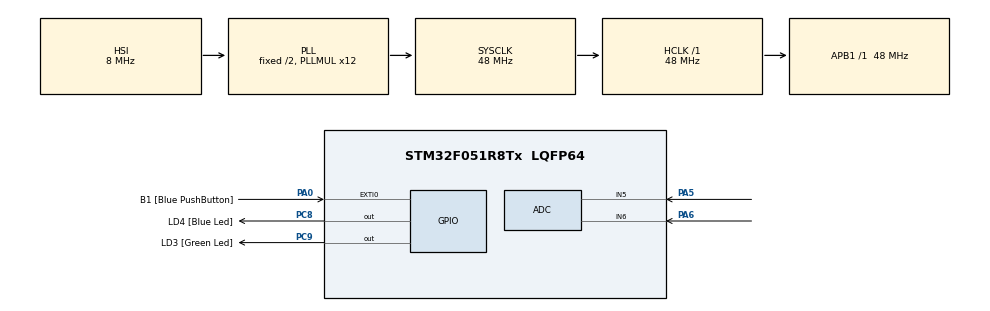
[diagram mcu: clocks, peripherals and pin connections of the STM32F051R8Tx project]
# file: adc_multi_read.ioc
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ADC.ContinuousConvMode=ENABLE
Mcu.Family=STM32F0
Mcu.Name=STM32F051R8Tx
Mcu.Package=LQFP64
PA0.GPIO_Label=B1 [Blue PushButton]
PA0.GPIO_ModeDefaultEXTI=GPIO_MODE_EVT_RISING
PA0.Signal=GPXTI0
PA13.GPIO_Label=SWDIO
PA13.Mode=Serial_Wire
PA13.Signal=SYS_SWDIO
PA14.GPIO_Label=SWCLK
PA14.Mode=Serial_Wire
PA14.Signal=SYS_SWCLK
PA5.Mode=IN5
PA5.Signal=ADC_IN5
PA6.Mode=IN6
PA6.Signal=ADC_IN6
PC8.GPIO_Label=LD4 [Blue Led]
PC8.Signal=GPIO_Output
PC9.GPIO_Label=LD3 [Green Led]
PC9.Signal=GPIO_Output
ProjectManager.HeapSize=0x200
ProjectManager.StackSize=0x400
ProjectManager.TargetToolchain=STM32CubeIDE
RCC.AHBFreq_Value=48000000
RCC.APB1Freq_Value=48000000
RCC.APB1TimFreq_Value=48000000
RCC.HCLKFreq_Value=48000000
RCC.PLLMUL=RCC_PLL_MUL12
RCC.SYSCLKFreq_VALUE=48000000
RCC.SYSCLKSource=RCC_SYSCLKSOURCE_PLLCLK
VP_ADC_TempSens_Input.Mode=IN-TempSens
board=STM32F0DISCOVERY

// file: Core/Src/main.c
/* USER CODE BEGIN Header */
/**
  ******************************************************************************
  * @file           : main.c
  * @brief          : Main program body
  ******************************************************************************
  * @attention
  *
  * Copyright (c) 2022 STMicroelectronics.
  * All rights reserved.
  *
  * This software is licensed under terms that can be found in the LICENSE file
  * in the root directory of this software component.
  * If no LICENSE file comes with this software, it is provided AS-IS.
  *
  ******************************************************************************
  */
/* USER CODE END Header */
#include "main.h"
#include <stdlib.h>
#include <stdio.h>

ADC_HandleTypeDef hadc;

void SystemClock_Config(void);
static void MX_GPIO_Init(void);
static void MX_ADC_Init(void);

/* USER CODE BEGIN 0 */

uint16_t pot1;
uint16_t pot2;
int temp;
float vsense = 3.3/4095.0;

float arr[3];
#define maxsize 10
float values[maxsize];
int pot2_arr[5];
int temp_arr[5];

// queue node
struct node
{
	int data;
	struct node *next;
};

//front ve rear
struct node *front = NULL;
struct node *rear  = NULL;

//kuyruga veri ekleme enqueu
int enqueu(int val)
{
	//kuyrugun boş olma durumu
	if(front == NULL )
	{
		struct node *new = (struct node*)malloc(sizeof(struct node));
		new ->data = val;
		new ->next = NULL;

		// kuyrugun başıda sonuda aynı eri göstermeli
		front = rear = new;
	}
	//kuyruk boş değilse
	else {
		struct node *new = (struct node*)malloc(sizeof(struct node));
		new ->data = val;
		new ->next = NULL;

		rear->next = new;
		rear = new;

	}

}

//kuyrukdan veri cıkarma
int dequeu()
{
	//ilk giren ilk cıkan FIFO olucak - parametre yok

	//kuyrugun bos olam durumu
	if(front == NULL)
	{
		printf('BOSSS CIKAMAZZ');
		return 1;
	}
	else {
		struct node* temp = front;
		front = front->next;
		free(temp);
	}
}

int display()
{
	int count = 0;
	if (front == NULL) {
		printf('BSS');
		return 0;
	}
	struct node* index = front;
	while(index!=NULL){
		printf('%d -- ', index->data);
		index  = index->next;
		count++;
	}
	return count;

}

float gettemp(float value)
{
	return (((value*vsense)-0.76)/0.0025)+25;
}

int movingAvg(float newVal, float* array)
{

}

float Read_ADC(float channel)
{
	  HAL_ADC_DeInit(&hadc);
	  ADC_ChannelConfTypeDef sConfig = {0};
	  hadc.Instance = ADC1;
	  hadc.Init.ClockPrescaler = ADC_CLOCK_ASYNC_DIV1;
	  hadc.Init.Resolution = ADC_RESOLUTION_12B;
	  hadc.Init.DataAlign = ADC_DATAALIGN_RIGHT;
	  hadc.Init.ScanConvMode = ADC_SCAN_DIRECTION_FORWARD;
	  hadc.Init.EOCSelection = ADC_EOC_SINGLE_CONV;
	  hadc.Init.LowPowerAutoWait = DISABLE;
	  hadc.Init.LowPowerAutoPowerOff = DISABLE;
	  hadc.Init.ContinuousConvMode = ENABLE;
	  hadc.Init.DiscontinuousConvMode = DISABLE;
	  hadc.Init.ExternalTrigConv = ADC_SOFTWARE_START;
	  hadc.Init.ExternalTrigConvEdge = ADC_EXTERNALTRIGCONVEDGE_NONE;
	  hadc.Init.DMAContinuousRequests = DISABLE;
	  hadc.Init.Overrun = ADC_OVR_DATA_PRESERVED;
	  if (HAL_ADC_Init(&hadc) != HAL_OK)
	  {
	    Error_Handler();
	  }
	  sConfig.Channel = channel;
	  sConfig.Rank = ADC_RANK_CHANNEL_NUMBER;
	  sConfig.SamplingTime = ADC_SAMPLETIME_1CYCLE_5;
	  if (HAL_ADC_ConfigChannel(&hadc, &sConfig) != HAL_OK)
	  {
	    Error_Handler();
	  }
	  else
	  {
		  HAL_ADC_Start(&hadc);
		  HAL_ADC_PollForConversion(&hadc, 100);
		  HAL_Delay(100);
		  float val = HAL_ADC_GetValue(&hadc);
		  float sum = 0;
		  for (int i = 0; i < maxsize; i++)
		  {
			values[i] = val;
		  }

		  for(int i = 0; i < maxsize-1; i++)
		  {
			  values[i] = values[i+1];
			  sum +=values[i];
		  }
		  values[maxsize-1] = val;
		  return ((sum+values[maxsize-1])/10);
	  }
}

/* USER CODE END 0 */

int main(void)
{

  /* MCU Configuration--------------------------------------------------------*/

  /* Reset of all peripherals, Initializes the Flash interface and the Systick. */
  HAL_Init();

  /* Configure the system clock */
  SystemClock_Config();

  /* Initialize all configured peripherals */
  MX_GPIO_Init();
  MX_ADC_Init();

  /* Infinite loop */
  while (1)
  {

    /* USER CODE BEGIN 3 */

	  arr[0] = Read_ADC(ADC_CHANNEL_5);
	  arr[1] = Read_ADC(ADC_CHANNEL_6);
	  arr[2] = gettemp(Read_ADC(ADC_CHANNEL_TEMPSENSOR));

	  HAL_ADC_Stop(&hadc);

  }
  /* USER CODE END 3 */
}

void SystemClock_Config(void)
{
  RCC_OscInitTypeDef RCC_OscInitStruct = {0};
  RCC_ClkInitTypeDef RCC_ClkInitStruct = {0};

  /** Initializes the RCC Oscillators according to the specified parameters
  * in the RCC_OscInitTypeDef structure.
  */
  RCC_OscInitStruct.OscillatorType = RCC_OSCILLATORTYPE_HSI|RCC_OSCILLATORTYPE_HSI14;
  RCC_OscInitStruct.HSIState = RCC_HSI_ON;
  RCC_OscInitStruct.HSI14State = RCC_HSI14_ON;
  RCC_OscInitStruct.HSICalibrationValue = RCC_HSICALIBRATION_DEFAULT;
  RCC_OscInitStruct.HSI14CalibrationValue = 16;
  RCC_OscInitStruct.PLL.PLLState = RCC_PLL_ON;
  RCC_OscInitStruct.PLL.PLLSource = RCC_PLLSOURCE_HSI;
  RCC_OscInitStruct.PLL.PLLMUL = RCC_PLL_MUL12;
  RCC_OscInitStruct.PLL.PREDIV = RCC_PREDIV_DIV1;
  if (HAL_RCC_OscConfig(&RCC_OscInitStruct) != HAL_OK)
  {
    Error_Handler();
  }

  /** Initializes the CPU, AHB and APB buses clocks
  */
  RCC_ClkInitStruct.ClockType = RCC_CLOCKTYPE_HCLK|RCC_CLOCKTYPE_SYSCLK
                              |RCC_CLOCKTYPE_PCLK1;
  RCC_ClkInitStruct.SYSCLKSource = RCC_SYSCLKSOURCE_PLLCLK;
  RCC_ClkInitStruct.AHBCLKDivider = RCC_SYSCLK_DIV1;
  RCC_ClkInitStruct.APB1CLKDivider = RCC_HCLK_DIV1;

  if (HAL_RCC_ClockConfig(&RCC_ClkInitStruct, FLASH_LATENCY_1) != HAL_OK)
  {
    Error_Handler();
  }
}

static void MX_ADC_Init(void)
{

  ADC_ChannelConfTypeDef sConfig = {0};

  /** Configure the global features of the ADC (Clock, Resolution, Data Alignment and number of conversion)
  */
  hadc.Instance = ADC1;
  hadc.Init.ClockPrescaler = ADC_CLOCK_ASYNC_DIV1;
  hadc.Init.Resolution = ADC_RESOLUTION_12B;
  hadc.Init.DataAlign = ADC_DATAALIGN_RIGHT;
  hadc.Init.ScanConvMode = ADC_SCAN_DIRECTION_FORWARD;
  hadc.Init.EOCSelection = ADC_EOC_SINGLE_CONV;
  hadc.Init.LowPowerAutoWait = DISABLE;
  hadc.Init.LowPowerAutoPowerOff = DISABLE;
  hadc.Init.ContinuousConvMode = ENABLE;
  hadc.Init.DiscontinuousConvMode = DISABLE;
  hadc.Init.ExternalTrigConv = ADC_SOFTWARE_START;
  hadc.Init.ExternalTrigConvEdge = ADC_EXTERNALTRIGCONVEDGE_NONE;
  hadc.Init.DMAContinuousRequests = DISABLE;
  hadc.Init.Overrun = ADC_OVR_DATA_PRESERVED;
  if (HAL_ADC_Init(&hadc) != HAL_OK)
  {
    Error_Handler();
  }

  /** Configure for the selected ADC regular channel to be converted.
  */

  /** Configure for the selected ADC regular channel to be converted.
  */

  /** Configure for the selected ADC regular channel to be converted.
  */

}

static void MX_GPIO_Init(void)
{
  GPIO_InitTypeDef GPIO_InitStruct = {0};

  /* GPIO Ports Clock Enable */
  __HAL_RCC_GPIOA_CLK_ENABLE();
  __HAL_RCC_GPIOC_CLK_ENABLE();

  /*Configure GPIO pin Output Level */
  HAL_GPIO_WritePin(GPIOC, LD4_Pin|LD3_Pin, GPIO_PIN_RESET);

  /*Configure GPIO pin : B1_Pin */
  GPIO_InitStruct.Pin = B1_Pin;
  GPIO_InitStruct.Mode = GPIO_MODE_EVT_RISING;
  GPIO_InitStruct.Pull = GPIO_NOPULL;
  HAL_GPIO_Init(B1_GPIO_Port, &GPIO_InitStruct);

  /*Configure GPIO pins : LD4_Pin LD3_Pin */
  GPIO_InitStruct.Pin = LD4_Pin|LD3_Pin;
  GPIO_InitStruct.Mode = GPIO_MODE_OUTPUT_PP;
  GPIO_InitStruct.Pull = GPIO_NOPULL;
  GPIO_InitStruct.Speed = GPIO_SPEED_FREQ_LOW;
  HAL_GPIO_Init(GPIOC, &GPIO_InitStruct);

}

void Error_Handler(void)
{
  __disable_irq();
  while (1)
  {
  }
}
